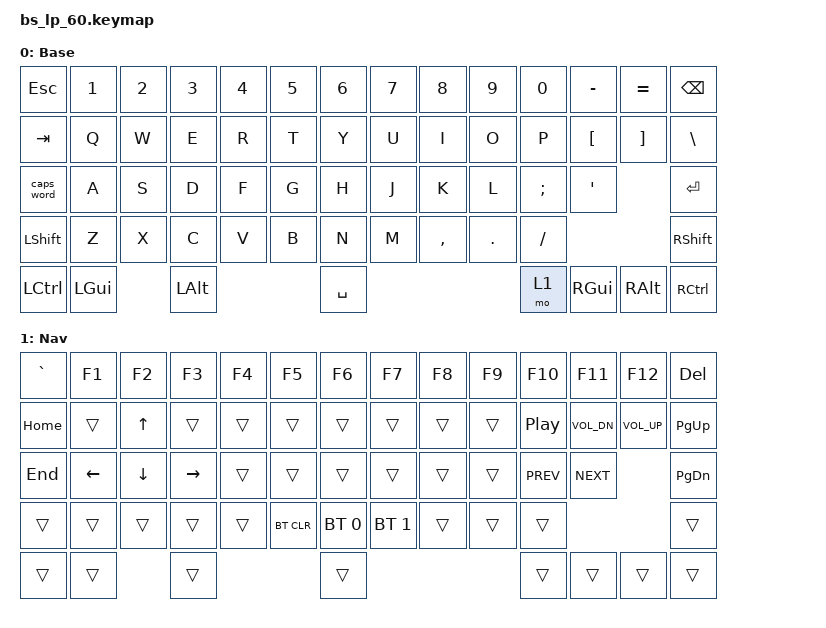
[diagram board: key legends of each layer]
/*
 * Copyright (c) 2021 Cole Smith
 *
 * SPDX-License-Identifier: MIT
 */

#include <dt-bindings/zmk/reset.h>
#include <behaviors.dtsi>
#include <dt-bindings/zmk/bt.h>
#include <dt-bindings/zmk/keys.h>

#define BAS_L 0
#define NAV_L 1

/ {
    behaviors {
        caps_word: caps_word {
            compatible = "zmk,behavior-caps-word";
            label = "CAPS_WORD";
            #binding-cells = <0>;
            continue-list = <UNDERSCORE MINUS>;
        };
    };

    keymap {
        compatible = "zmk,keymap";

        default_layer {
            // ------------------------------------------------------------------------------------------
            // | ESC |  1  |  2  |  3  |  4  |  5  |  6  |  7  |  8  |  9  |  0  |  -  |  =  |   BKSP   |
            // | TAB  |  Q  |  W  |  E  |  R  |  T  |  Y  |  U  |  I  |  O  |  P  |  [  |  ]  |   "|"   |
            // | CAPS  |  A  |  S  |  D  |  F  |  G  |  H  |  J  |  K  |  L  |  ;  |  '  |     ENTER    |
            // |  SHIFT  |  Z  |  X  |  C  |  V  |  B  |  N  |  M  |  ,  |  .  |  /  |      SHIFT       |
            // |  CTL  |  WIN  |  ALT  |            SPACE              |  ALT  |  WIN  |  MO(1) |  CTL  |
            // ------------------------------------------------------------------------------------------

            label = "Base";
            bindings = <
&kp ESCAPE  &kp N1    &kp N2  &kp N3    &kp N4  &kp N5  &kp N6     &kp N7  &kp N8     &kp N9   &kp N0    &kp MINUS  &kp EQUAL      &kp BSPC
&kp TAB     &kp Q     &kp W   &kp E     &kp R   &kp T   &kp Y      &kp U   &kp I      &kp O    &kp P     &kp LBKT   &kp RBKT       &kp BSLH
&caps_word  &kp A     &kp S   &kp D     &kp F   &kp G   &kp H      &kp J   &kp K      &kp L    &kp SEMI  &kp SQT                   &kp RET
&kp LSHFT   &kp Z     &kp X   &kp C     &kp V   &kp B   &kp N      &kp M   &kp COMMA  &kp DOT  &kp FSLH                            &kp RSHFT
&kp LCTRL   &kp LGUI          &kp LALT                  &kp SPACE                              &mo 1     &kp RGUI   &kp RIGHT_ALT  &kp RCTRL
            >;
        };

        ble_layer {
            // ------------------------------------------------------------------------------------------------
            // | BT CLR | F1  | F2  | F3  | F4  | F5  | F6  | F7  | F8  | F9  | F10  | F11 | F12 |            |
            // |  BT 1   |   |  UP |   |       |       |       |       |   |     |    |     |     |           |
            // |   BT 2   | LT |  DN  | RT |       |       |       |       |   |     |   |     |              |
            // |    BT 3     |     |      |      |     |     |     |     |     |     |     |                  |
            // |   BT 4  |      |      |                                    | PRT SCR |       |       |  DEL  |
            // ------------------------------------------------------------------------------------------------

            label = "Nav";
            bindings = <
&kp GRAVE  &kp F1    &kp F2    &kp F3     &kp F4  &kp F5      &kp F6        &kp F7        &kp F8  &kp F9  &kp F10           &kp F11       &kp F12          &kp DEL
&kp HOME   &trans    &kp UP    &trans     &trans  &trans      &trans        &trans        &trans  &trans  &kp C_PLAY_PAUSE  &kp C_VOL_DN  &kp C_VOLUME_UP  &kp PAGE_UP
&kp END    &kp LEFT  &kp DOWN  &kp RIGHT  &trans  &trans      &trans        &trans        &trans  &trans  &kp C_PREV        &kp C_NEXT                     &kp PAGE_DOWN
&trans     &trans    &trans    &trans     &trans  &bt BT_CLR  &bt BT_SEL 0  &bt BT_SEL 1  &trans  &trans  &trans                                           &trans
&trans     &trans              &trans                         &trans                                      &trans            &trans        &trans           &trans
            >;
        };
    };
};
